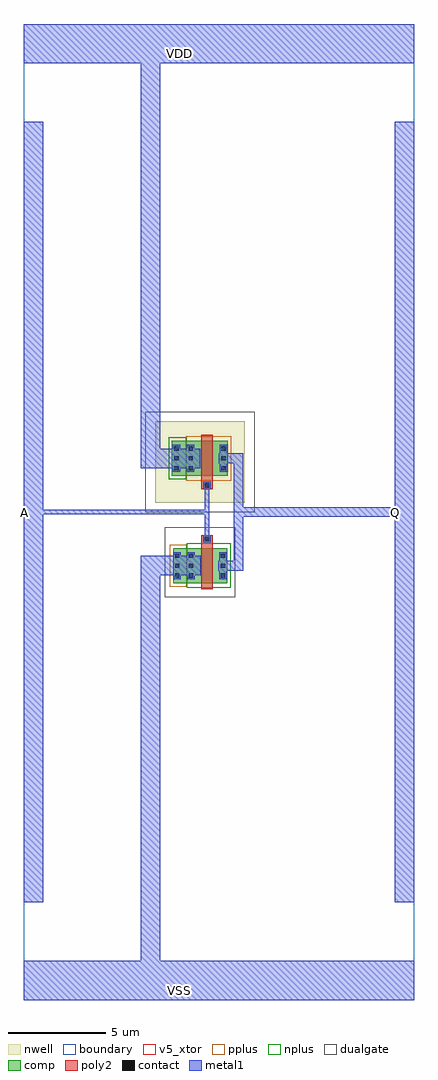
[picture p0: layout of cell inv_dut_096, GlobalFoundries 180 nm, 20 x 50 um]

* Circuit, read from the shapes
.subckt inv_dut_096 A Q VDD VSS
XM1 Q A VSS VSS nfet_05v0 w=1.8u l=0.6u
XM2 Q A VDD VDD pfet_05v0 w=1.8u l=0.6u
.ends

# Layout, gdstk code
from math import pi, radians
import gdstk
lib = gdstk.Library(unit=1e-6, precision=1e-09)
def R(c, l, rs):  # rectangles x0, y0, x1, y1
    for r in rs: c.add(gdstk.rectangle(r[:2], r[2:], *l))
def A(c, l, x, y, w, h, nx, ny, dx, dy):  # array of equal rectangles
    R(c, l, [(x+i*dx, y+j*dy, x+i*dx+w, y+j*dy+h) for i in range(nx) for j in range(ny)])
boundary = (0, 0)
nwell = (21, 0)
comp = (22, 0)
poly2 = (30, 0)
pplus = (31, 0)
nplus = (32, 0)
contact = (33, 0)
metal1 = (34, 0)
dualgate = (55, 0)
v5_xtor = (112, 1)

pfet = lib.new_cell('pfet')
R(pfet, nwell, [(-1.32,-1.37,3.27,2.79)])
R(pfet, comp, [(-0.46,0,2.41,1.8)])
R(pfet, poly2, [(0.31,-0.68,0.91,2.1)])
R(pfet, pplus, [(-0.63,-0.24,1.68,2.04)])
R(pfet, nplus, [(1.68,-0.17,2.58,1.97)])
A(pfet, contact, -0.34, 0.28, 0.22, 0.22, 1, 3, 0, 0.51)
A(pfet, contact, 1.34, 0.28, 0.22, 0.22, 1, 3, 0, 0.51)
A(pfet, contact, 2.07, 0.28, 0.22, 0.22, 1, 3, 0, 0.51)
R(pfet, contact, [(0.5,-0.6,0.72,-0.38)])
R(pfet, metal1, [(0.42,-0.68,0.8,-0.3), (-0.42,0.2,-0.04,1.6), (1.26,0.2,1.64,1.6), (1.99,0.2,2.37,1.6)])
R(pfet, dualgate, [(-1.82,-1.87,3.77,3.29)])
R(pfet, v5_xtor, [(-1.82,-1.87,3.77,3.29)])

nfet = lib.new_cell('nfet')
R(nfet, comp, [(-0.42,0,2.35,1.8)])
R(nfet, poly2, [(0.31,-0.3,0.91,2.46)])
R(nfet, pplus, [(1.64,-0.17,2.52,1.97)])
R(nfet, nplus, [(-0.59,-0.24,1.64,2.04)])
A(nfet, contact, -0.32, 0.28, 0.22, 0.22, 1, 3, 0, 0.51)
A(nfet, contact, 1.32, 0.28, 0.22, 0.22, 1, 3, 0, 0.51)
A(nfet, contact, 2.03, 0.28, 0.22, 0.22, 1, 3, 0, 0.51)
R(nfet, contact, [(0.5,2.17,0.72,2.39)])
R(nfet, metal1, [(-0.4,0.2,-0.02,1.6), (1.24,0.2,1.62,1.6), (1.95,0.2,2.33,1.6), (0.42,2.09,0.8,2.47)])
R(nfet, dualgate, [(-0.84,-0.71,2.77,2.88)])
R(nfet, v5_xtor, [(-0.84,-0.71,2.77,2.88)])

inv_dut_096 = lib.new_cell('inv_dut_096')
R(inv_dut_096, boundary, [(-10,-25,10,25)])
R(inv_dut_096, metal1, [(-10,-25,10,-23), (-4,-24.5,-3,-2.25), (-10,-20,-9,20), (9,-20,10,20), (-4,-3.25,-0.93,-2.25), (-0.04,-3,1.25,-2.5), (0.75,-3,1.25,3), (-0.725,-1.485,-0.495,1.475), (0.75,-0.25,9.75,0.25), (-9.615,-0.115,-0.495,0.115), (-4,2.25,-0.95,3.25), (-4,2.25,-3,24.5), (-0.02,2.5,1.25,3), (-10,23,10,25)])
inv_dut_096.add(gdstk.Reference(pfet, (0,1.85), rotation=pi, x_reflection=True))
inv_dut_096.add(gdstk.Reference(nfet, (0,-3.65), rotation=pi, x_reflection=True))
inv_dut_096.add(gdstk.Label('VDD', (-2,23.5), layer=34, texttype=10))
inv_dut_096.add(gdstk.Label('VSS', (-2,-24.5), layer=34, texttype=10))
inv_dut_096.add(gdstk.Label('A', (-9.97,0), layer=34, texttype=10))
inv_dut_096.add(gdstk.Label('Q', (9.03,0), layer=34, texttype=10))

lib.write_gds('inv_dut_096.gds')
